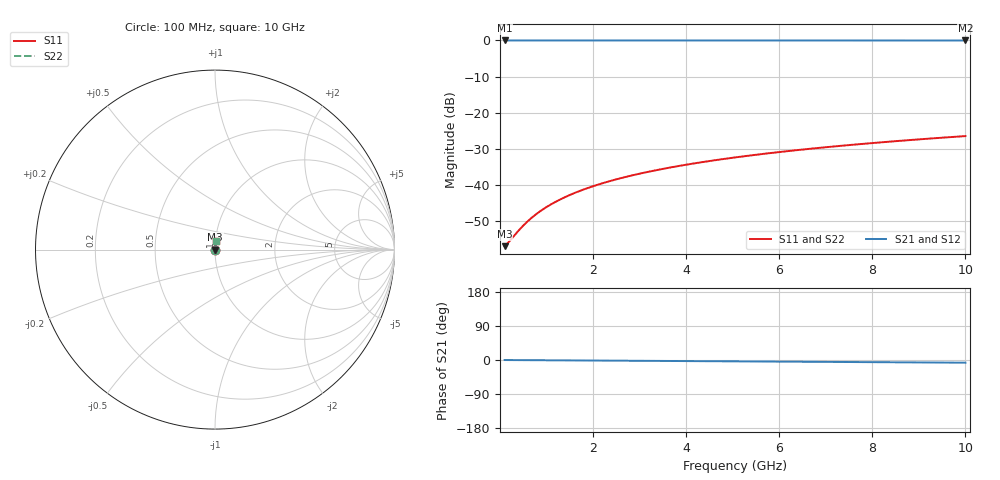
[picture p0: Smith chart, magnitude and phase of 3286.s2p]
# Hz S RI R 50.00
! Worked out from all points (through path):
!   100 points, 100 MHz to 10 GHz, reference 50 ohm
!   highest |S21| = -0.01 dB at 100 MHz (marker M1); lowest = 0.0 dB at 10 GHz (marker M2)
!   lowest |S11| = -56.9 dB at 100 MHz (marker M3), VSWR 1.00, Z = 50.1 + j0.0476 ohm
!   |S11| at or under -10 dB: start of sweep to end of sweep
!   |S22| runs from -56.9 to -26.5 dB; largest |S21 - S12| = 0
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1e8  0.00134 0.000474  0.9987 -0.00124  0.9987 -0.00124  0.00134 0.000474
2e8  0.00136 0.000948  0.9986 -0.00248  0.9986 -0.00248  0.00136 0.000948
4e8  0.00137 0.0019  0.9986 -0.00496  0.9986 -0.00496  0.00137 0.0019
5e8  0.00138 0.00237  0.9986 -0.00619  0.9986 -0.00619  0.00138 0.00237
6e8  0.00139 0.00285  0.9986 -0.00743  0.9986 -0.00743  0.00139 0.00285
7e8  0.0014 0.00332  0.9986 -0.00867  0.9986 -0.00867  0.0014 0.00332
8e8  0.00142 0.00379  0.9986 -0.00991  0.9986 -0.00991  0.00142 0.00379
1e9  0.00144 0.00474  0.9985 -0.0124  0.9985 -0.0124  0.00144 0.00474
1.2e9  0.00147 0.00569  0.9985 -0.0149  0.9985 -0.0149  0.00147 0.00569
1.5e9  0.00153 0.00711  0.9984 -0.0186  0.9984 -0.0186  0.00153 0.00711
1.8e9  0.00159 0.00853  0.9983 -0.0223  0.9983 -0.0223  0.00159 0.00853
2.1e9  0.00166 0.00995  0.9982 -0.026  0.9982 -0.026  0.00166 0.00995
2.5e9  0.00178 0.0118  0.998 -0.031  0.998 -0.031  0.00178 0.0118
2.9e9  0.00191 0.0137  0.9978 -0.0359  0.9978 -0.0359  0.00191 0.0137
3.4e9  0.0021 0.0161  0.9975 -0.0421  0.9975 -0.0421  0.0021 0.0161
4.2e9  0.00247 0.0199  0.997 -0.052  0.997 -0.052  0.00247 0.0199
5.1e9  0.00297 0.0241  0.9962 -0.0631  0.9962 -0.0631  0.00297 0.0241
5.9e9  0.0035 0.0279  0.9954 -0.073  0.9954 -0.073  0.0035 0.0279
6.7e9  0.0041 0.0316  0.9945 -0.0829  0.9945 -0.0829  0.0041 0.0316
7.5e9  0.00477 0.0353  0.9935 -0.0928  0.9935 -0.0928  0.00477 0.0353
8.4e9  0.00562 0.0395  0.9922 -0.1039  0.9922 -0.1039  0.00562 0.0395
1e10  0.00736 0.0469  0.9896 -0.1235  0.9896 -0.1235  0.00736 0.0469
